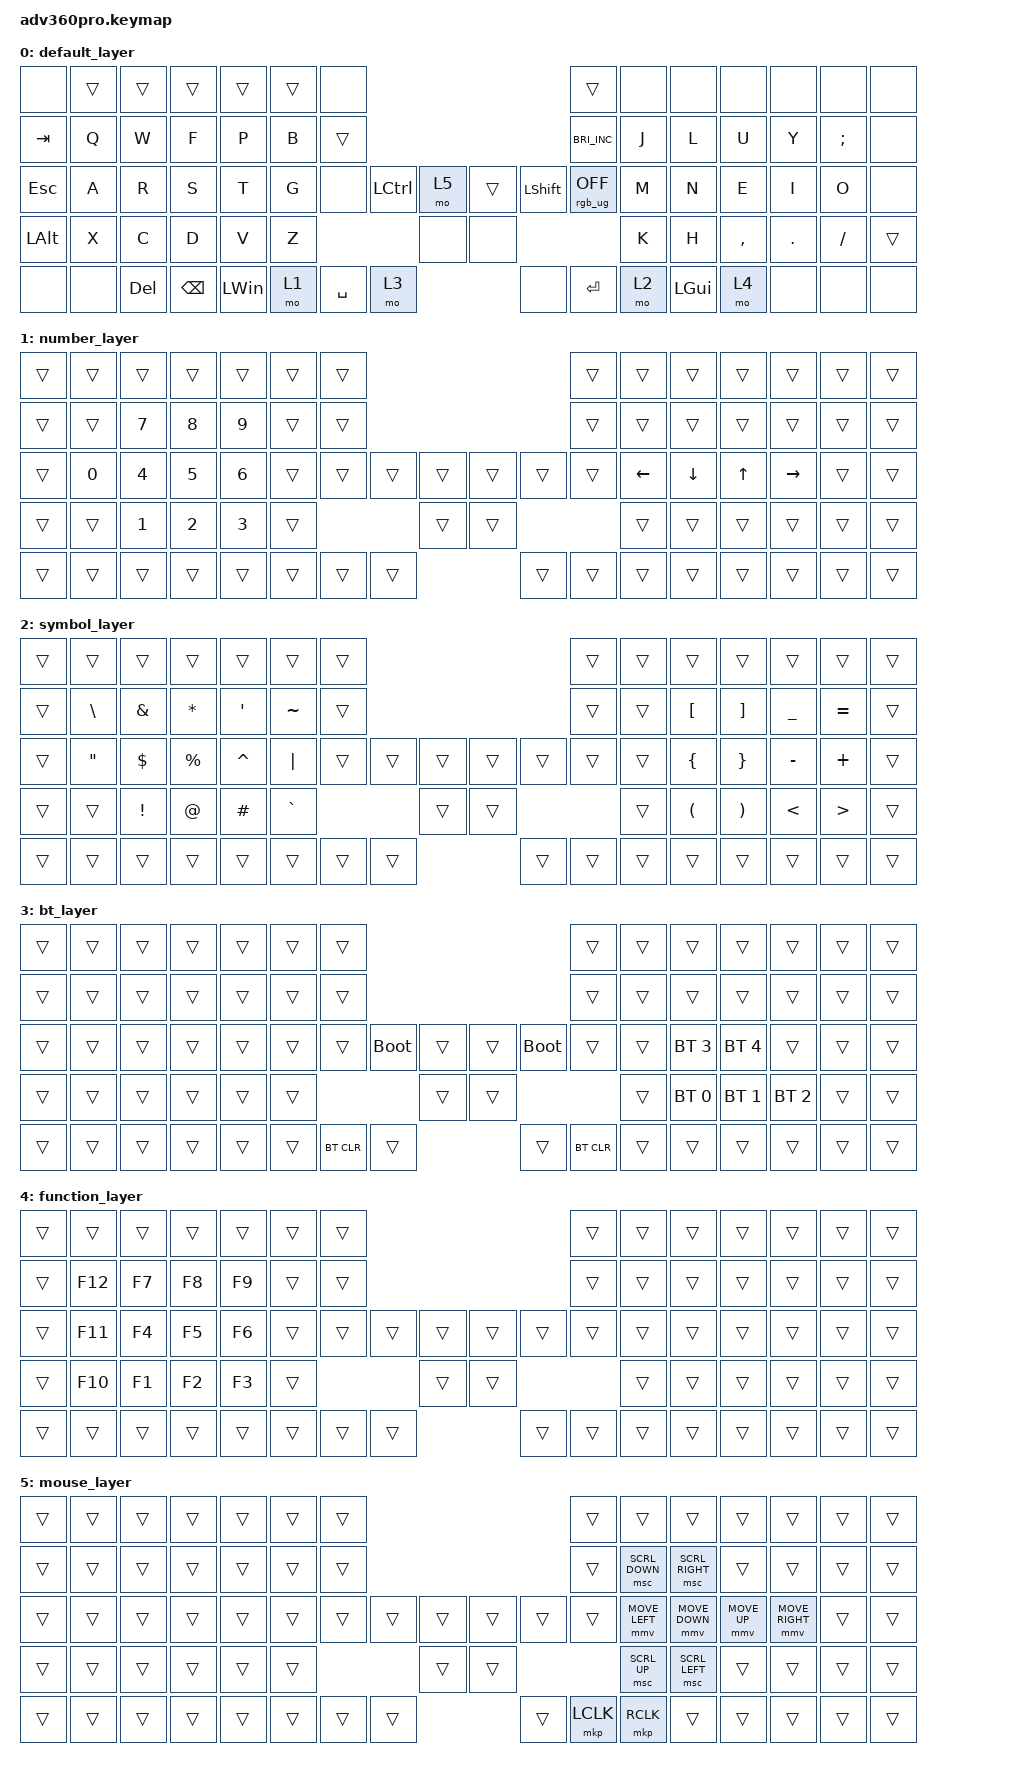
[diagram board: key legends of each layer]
#include <behaviors.dtsi>
#include <dt-bindings/zmk/bt.h>
#include <dt-bindings/zmk/keys.h>
#include <dt-bindings/zmk/pointing.h>
#include <dt-bindings/zmk/rgb.h>

/ {
    keymap {
        compatible = "zmk,keymap";

        default_layer {
            bindings = <
&none     &trans  &trans      &trans         &trans        &trans  &none                                                                    &trans                &none  &none         &none      &none    &none     &none
&kp TAB   &kp Q   &kp W       &kp F          &kp P         &kp B   &trans                                                                   &kp C_BRIGHTNESS_INC  &kp J  &kp L         &kp U      &kp Y    &kp SEMI  &none
&kp ESC   &kp A   &kp R       &kp S          &kp T         &kp G   &none          &kp LEFT_CONTROL  &mo 5    &trans  &kp LEFT_SHIFT         &rgb_ug RGB_OFF       &kp M  &kp N         &kp E      &kp I    &kp O     &none
&kp LALT  &kp X   &kp C       &kp D          &kp V         &kp Z                                    &none    &none                                                &kp K  &kp H         &kp COMMA  &kp DOT  &kp FSLH  &trans
&none     &none   &kp DELETE  &kp BACKSPACE  &kp LEFT_WIN                  &mo 1  &kp SPACE         &mo 3    &none   &kp RET         &mo 2                               &kp LEFT_GUI  &mo 4      &none    &none     &none
            >;
        };

        number_layer {
            bindings = <
&trans  &trans  &trans  &trans  &trans  &trans  &trans                                                    &trans  &trans    &trans    &trans  &trans     &trans  &trans
&trans  &trans  &kp N7  &kp N8  &kp N9  &trans  &trans                                                    &trans  &trans    &trans    &trans  &trans     &trans  &trans
&trans  &kp N0  &kp N4  &kp N5  &kp N6  &trans  &trans          &trans  &trans    &trans  &trans          &trans  &kp LEFT  &kp DOWN  &kp UP  &kp RIGHT  &trans  &trans
&trans  &trans  &kp N1  &kp N2  &kp N3  &trans                          &trans    &trans                          &trans    &trans    &trans  &trans     &trans  &trans
&trans  &trans  &trans  &trans  &trans                  &trans  &trans  &trans    &trans  &trans  &trans                    &trans    &trans  &trans     &trans  &trans
            >;
        };

        symbol_layer {
            bindings = <
&trans  &trans             &trans           &trans        &trans     &trans     &trans                                                    &trans  &trans  &trans                &trans                 &trans          &trans            &trans
&trans  &kp BACKSLASH      &kp AMPERSAND    &kp ASTERISK  &kp SQT    &kp TILDE  &trans                                                    &trans  &trans  &kp LBKT              &kp RIGHT_BRACKET      &kp UNDERSCORE  &kp EQUAL         &trans
&trans  &kp DOUBLE_QUOTES  &kp DOLLAR       &kp PERCENT   &kp CARET  &kp PIPE   &trans          &trans  &trans    &trans  &trans          &trans  &trans  &kp LEFT_BRACE        &kp RIGHT_BRACE        &kp MINUS       &kp PLUS          &trans
&trans  &trans             &kp EXCLAMATION  &kp AT_SIGN   &kp HASH   &kp GRAVE                          &trans    &trans                          &trans  &kp LEFT_PARENTHESIS  &kp RIGHT_PARENTHESIS  &kp LESS_THAN   &kp GREATER_THAN  &trans
&trans  &trans             &trans           &trans        &trans                        &trans  &trans  &trans    &trans  &trans  &trans                  &trans                &trans                 &trans          &trans            &trans
            >;
        };

        bt_layer {
            bindings = <
&trans  &trans  &trans  &trans  &trans  &trans  &trans                                                              &trans  &trans  &trans        &trans        &trans        &trans  &trans
&trans  &trans  &trans  &trans  &trans  &trans  &trans                                                              &trans  &trans  &trans        &trans        &trans        &trans  &trans
&trans  &trans  &trans  &trans  &trans  &trans  &trans          &bootloader  &trans    &trans  &bootloader          &trans  &trans  &bt BT_SEL 3  &bt BT_SEL 4  &trans        &trans  &trans
&trans  &trans  &trans  &trans  &trans  &trans                               &trans    &trans                               &trans  &bt BT_SEL 0  &bt BT_SEL 1  &bt BT_SEL 2  &trans  &trans
&trans  &trans  &trans  &trans  &trans                  &trans  &bt BT_CLR   &trans    &trans  &bt BT_CLR   &trans                  &trans        &trans        &trans        &trans  &trans
            >;
        };

        function_layer {
            bindings = <
&trans  &trans   &trans  &trans  &trans  &trans  &trans                                                    &trans  &trans  &trans  &trans  &trans  &trans  &trans
&trans  &kp F12  &kp F7  &kp F8  &kp F9  &trans  &trans                                                    &trans  &trans  &trans  &trans  &trans  &trans  &trans
&trans  &kp F11  &kp F4  &kp F5  &kp F6  &trans  &trans          &trans  &trans    &trans  &trans          &trans  &trans  &trans  &trans  &trans  &trans  &trans
&trans  &kp F10  &kp F1  &kp F2  &kp F3  &trans                          &trans    &trans                          &trans  &trans  &trans  &trans  &trans  &trans
&trans  &trans   &trans  &trans  &trans                  &trans  &trans  &trans    &trans  &trans  &trans                  &trans  &trans  &trans  &trans  &trans
            >;
        };

        mouse_layer {
            bindings = <
&trans  &trans  &trans  &trans  &trans  &trans  &trans                                                          &trans  &trans          &trans           &trans        &trans           &trans  &trans
&trans  &trans  &trans  &trans  &trans  &trans  &trans                                                          &trans  &msc SCRL_DOWN  &msc SCRL_RIGHT  &trans        &trans           &trans  &trans
&trans  &trans  &trans  &trans  &trans  &trans  &trans          &trans  &trans    &trans  &trans                &trans  &mmv MOVE_LEFT  &mmv MOVE_DOWN   &mmv MOVE_UP  &mmv MOVE_RIGHT  &trans  &trans
&trans  &trans  &trans  &trans  &trans  &trans                          &trans    &trans                                &msc SCRL_UP    &msc SCRL_LEFT   &trans        &trans           &trans  &trans
&trans  &trans  &trans  &trans  &trans                  &trans  &trans  &trans    &trans  &mkp LCLK  &mkp RCLK                          &trans           &trans        &trans           &trans  &trans
            >;
        };
    };
};
